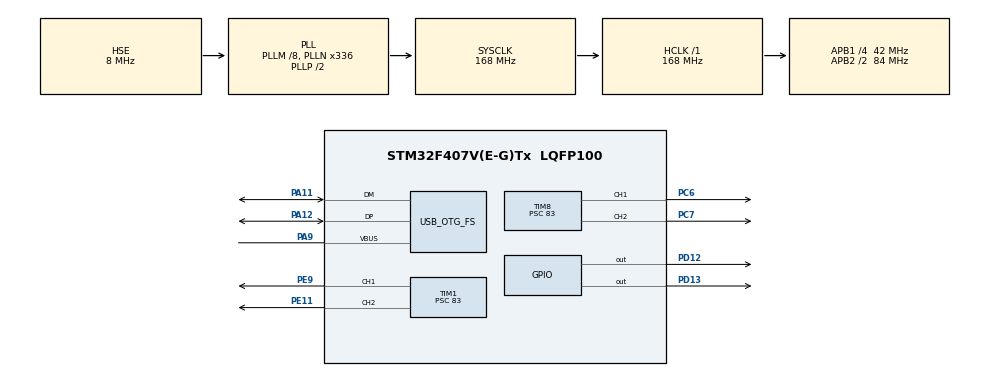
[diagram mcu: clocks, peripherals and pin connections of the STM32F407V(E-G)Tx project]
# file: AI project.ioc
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Mcu.Family=STM32F4
Mcu.Name=STM32F407V(E-G)Tx
Mcu.Package=LQFP100
NVIC.OTG_FS_IRQn=true\:0\:0\:false\:false\:true\:false\:true\:true
NVIC.PriorityGroup=NVIC_PRIORITYGROUP_0
PA11.Mode=Device_Only
PA11.Signal=USB_OTG_FS_DM
PA12.Mode=Device_Only
PA12.Signal=USB_OTG_FS_DP
PA9.Mode=Activate_VBUS
PA9.Signal=USB_OTG_FS_VBUS
PC6.Signal=S_TIM8_CH1
PC7.Signal=S_TIM8_CH2
PD12.Signal=GPIO_Output
PD13.Signal=GPIO_Output
PE11.Signal=S_TIM1_CH2
PE9.Signal=S_TIM1_CH1
PH0-OSC_IN.Mode=HSE-External-Oscillator
PH0-OSC_IN.Signal=RCC_OSC_IN
PH1-OSC_OUT.Mode=HSE-External-Oscillator
PH1-OSC_OUT.Signal=RCC_OSC_OUT
ProjectManager.HeapSize=0x200
ProjectManager.StackSize=0x400
ProjectManager.TargetToolchain=STM32CubeIDE
RCC.48MHZClocksFreq_Value=48000000
RCC.AHBFreq_Value=168000000
RCC.APB1CLKDivider=RCC_HCLK_DIV4
RCC.APB1Freq_Value=42000000
RCC.APB1TimFreq_Value=84000000
RCC.APB2CLKDivider=RCC_HCLK_DIV2
RCC.APB2Freq_Value=84000000
RCC.APB2TimFreq_Value=168000000
RCC.CortexFreq_Value=168000000
RCC.HCLKFreq_Value=168000000
RCC.HSE_VALUE=8000000
RCC.HSI_VALUE=16000000
RCC.LSE_VALUE=32768
RCC.PLLM=8
RCC.PLLN=336
RCC.PLLQ=7
RCC.SYSCLKFreq_VALUE=168000000
RCC.SYSCLKSource=RCC_SYSCLKSOURCE_PLLCLK
RCC.VCOOutputFreq_Value=336000000
SH.S_TIM1_CH1.0=TIM1_CH1,PWM Generation1 CH1
SH.S_TIM1_CH2.0=TIM1_CH2,PWM Generation2 CH2
SH.S_TIM8_CH1.0=TIM8_CH1,PWM Generation1 CH1
SH.S_TIM8_CH2.0=TIM8_CH2,PWM Generation2 CH2
TIM1.Channel-PWM\ Generation1\ CH1=TIM_CHANNEL_1
TIM1.Channel-PWM\ Generation2\ CH2=TIM_CHANNEL_2
TIM1.Period=999
TIM1.Prescaler=83
TIM8.Channel-PWM\ Generation1\ CH1=TIM_CHANNEL_1
TIM8.Channel-PWM\ Generation2\ CH2=TIM_CHANNEL_2
TIM8.Period=999
TIM8.Prescaler=83
USB_DEVICE.CLASS_NAME_FS=CDC
USB_DEVICE.VirtualMode-CDC_FS=Cdc
USB_DEVICE.VirtualModeFS=Cdc_FS
USB_OTG_FS.VirtualMode=Device_Only
VP_TIM1_VS_ClockSourceINT.Mode=Internal
VP_USB_DEVICE_VS_USB_DEVICE_CDC_FS.Mode=CDC_FS
board=STM32F407G-DISC1

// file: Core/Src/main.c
/* USER CODE BEGIN Header */
/**
  ******************************************************************************
  * @file           : main.c
  * @brief          : Main program body
  ******************************************************************************
  * @attention
  *
  * Copyright (c) 2024 STMicroelectronics.
  * All rights reserved.
  *
  * This software is licensed under terms that can be found in the LICENSE file
  * in the root directory of this software component.
  * If no LICENSE file comes with this software, it is provided AS-IS.
  *
  ******************************************************************************
  */
/* USER CODE END Header */
#include "main.h"
#include "usb_device.h"

/* USER CODE BEGIN Includes */
#include "string.h"
/* USER CODE END Includes */

TIM_HandleTypeDef htim1;
TIM_HandleTypeDef htim8;

/* USER CODE BEGIN PV */
uint8_t USBRxDataReady = 0;
uint8_t* USBRxDataBuffer;
uint8_t USBRxDataLength = 0;
/* USER CODE END PV */

void SystemClock_Config(void);
static void MX_GPIO_Init(void);
static void MX_TIM1_Init(void);
static void MX_TIM8_Init(void);

/* USER CODE BEGIN 0 */
void USBRxHandler(uint8_t* buf,uint16_t len) {
	USBRxDataReady = 1;
	USBRxDataBuffer = buf ;
	USBRxDataLength = len;
	return;
}
/* USER CODE END 0 */

int main(void)
{

  /* MCU Configuration--------------------------------------------------------*/

  /* Reset of all peripherals, Initializes the Flash interface and the Systick. */
  HAL_Init();

  /* Configure the system clock */
  SystemClock_Config();

  /* Initialize all configured peripherals */
  MX_GPIO_Init();
  MX_TIM1_Init();
  MX_USB_DEVICE_Init();
  MX_TIM8_Init();
  HAL_TIM_PWM_Start(&htim1, TIM_CHANNEL_1);
  HAL_TIM_PWM_Start(&htim8, TIM_CHANNEL_2);

  HAL_TIM_PWM_Start(&htim1, TIM_CHANNEL_2);
  HAL_TIM_PWM_Start(&htim8, TIM_CHANNEL_1);

  /* Infinite loop */
  /* USER CODE BEGIN WHILE */
  while (1)
  {
	  if (USBRxDataReady == 1)
	  {
		  if (strncmp(USBRxDataBuffer,"avant",USBRxDataLength) == 0)
		  {
			  	  	CDC_Transmit_FS("\ndone!\r\n", 8);
			  	  	HAL_GPIO_WritePin(GPIOD, GPIO_PIN_13, 1);
			  	    HAL_GPIO_WritePin(GPIOD, GPIO_PIN_12, 0);
			  	    __HAL_TIM_SET_COMPARE(&htim1, TIM_CHANNEL_1, 800);
			  	    __HAL_TIM_SET_COMPARE(&htim1, TIM_CHANNEL_2, 0);
			  	    __HAL_TIM_SET_COMPARE(&htim8, TIM_CHANNEL_1, 900);
			  	    __HAL_TIM_SET_COMPARE(&htim8, TIM_CHANNEL_2, 0);
		  }
		  else if (strncmp(USBRxDataBuffer,"stop",USBRxDataLength) == 0)
		  {
		  			CDC_Transmit_FS("\ndone!\r\n", 8);
		  			HAL_GPIO_WritePin(GPIOD, GPIO_PIN_13, 0);
		  			HAL_GPIO_WritePin(GPIOD, GPIO_PIN_12, 1);
		  			__HAL_TIM_SET_COMPARE(&htim1, TIM_CHANNEL_1, 0);
		  			__HAL_TIM_SET_COMPARE(&htim1, TIM_CHANNEL_2, 0);
		  			__HAL_TIM_SET_COMPARE(&htim8, TIM_CHANNEL_1, 0);
		  			__HAL_TIM_SET_COMPARE(&htim8, TIM_CHANNEL_2, 0);
		  }
		  else
		  {

		  }

//		HAL_Delay(1000);
	  	USBRxDataReady = 0;
	  }
    /* USER CODE END WHILE */

  }
}

void SystemClock_Config(void)
{
  RCC_OscInitTypeDef RCC_OscInitStruct = {0};
  RCC_ClkInitTypeDef RCC_ClkInitStruct = {0};

  /** Configure the main internal regulator output voltage
  */
  __HAL_RCC_PWR_CLK_ENABLE();
  __HAL_PWR_VOLTAGESCALING_CONFIG(PWR_REGULATOR_VOLTAGE_SCALE1);

  /** Initializes the RCC Oscillators according to the specified parameters
  * in the RCC_OscInitTypeDef structure.
  */
  RCC_OscInitStruct.OscillatorType = RCC_OSCILLATORTYPE_HSE;
  RCC_OscInitStruct.HSEState = RCC_HSE_ON;
  RCC_OscInitStruct.PLL.PLLState = RCC_PLL_ON;
  RCC_OscInitStruct.PLL.PLLSource = RCC_PLLSOURCE_HSE;
  RCC_OscInitStruct.PLL.PLLM = 8;
  RCC_OscInitStruct.PLL.PLLN = 336;
  RCC_OscInitStruct.PLL.PLLP = RCC_PLLP_DIV2;
  RCC_OscInitStruct.PLL.PLLQ = 7;
  if (HAL_RCC_OscConfig(&RCC_OscInitStruct) != HAL_OK)
  {
    Error_Handler();
  }

  /** Initializes the CPU, AHB and APB buses clocks
  */
  RCC_ClkInitStruct.ClockType = RCC_CLOCKTYPE_HCLK|RCC_CLOCKTYPE_SYSCLK
                              |RCC_CLOCKTYPE_PCLK1|RCC_CLOCKTYPE_PCLK2;
  RCC_ClkInitStruct.SYSCLKSource = RCC_SYSCLKSOURCE_PLLCLK;
  RCC_ClkInitStruct.AHBCLKDivider = RCC_SYSCLK_DIV1;
  RCC_ClkInitStruct.APB1CLKDivider = RCC_HCLK_DIV4;
  RCC_ClkInitStruct.APB2CLKDivider = RCC_HCLK_DIV2;

  if (HAL_RCC_ClockConfig(&RCC_ClkInitStruct, FLASH_LATENCY_5) != HAL_OK)
  {
    Error_Handler();
  }
}

static void MX_TIM1_Init(void)
{

  TIM_ClockConfigTypeDef sClockSourceConfig = {0};
  TIM_MasterConfigTypeDef sMasterConfig = {0};
  TIM_OC_InitTypeDef sConfigOC = {0};
  TIM_BreakDeadTimeConfigTypeDef sBreakDeadTimeConfig = {0};

  htim1.Instance = TIM1;
  htim1.Init.Prescaler = 83;
  htim1.Init.CounterMode = TIM_COUNTERMODE_UP;
  htim1.Init.Period = 999;
  htim1.Init.ClockDivision = TIM_CLOCKDIVISION_DIV1;
  htim1.Init.RepetitionCounter = 0;
  htim1.Init.AutoReloadPreload = TIM_AUTORELOAD_PRELOAD_DISABLE;
  if (HAL_TIM_Base_Init(&htim1) != HAL_OK)
  {
    Error_Handler();
  }
  sClockSourceConfig.ClockSource = TIM_CLOCKSOURCE_INTERNAL;
  if (HAL_TIM_ConfigClockSource(&htim1, &sClockSourceConfig) != HAL_OK)
  {
    Error_Handler();
  }
  if (HAL_TIM_PWM_Init(&htim1) != HAL_OK)
  {
    Error_Handler();
  }
  sMasterConfig.MasterOutputTrigger = TIM_TRGO_RESET;
  sMasterConfig.MasterSlaveMode = TIM_MASTERSLAVEMODE_DISABLE;
  if (HAL_TIMEx_MasterConfigSynchronization(&htim1, &sMasterConfig) != HAL_OK)
  {
    Error_Handler();
  }
  sConfigOC.OCMode = TIM_OCMODE_PWM1;
  sConfigOC.Pulse = 0;
  sConfigOC.OCPolarity = TIM_OCPOLARITY_HIGH;
  sConfigOC.OCNPolarity = TIM_OCNPOLARITY_HIGH;
  sConfigOC.OCFastMode = TIM_OCFAST_DISABLE;
  sConfigOC.OCIdleState = TIM_OCIDLESTATE_RESET;
  sConfigOC.OCNIdleState = TIM_OCNIDLESTATE_RESET;
  if (HAL_TIM_PWM_ConfigChannel(&htim1, &sConfigOC, TIM_CHANNEL_1) != HAL_OK)
  {
    Error_Handler();
  }
  if (HAL_TIM_PWM_ConfigChannel(&htim1, &sConfigOC, TIM_CHANNEL_2) != HAL_OK)
  {
    Error_Handler();
  }
  sBreakDeadTimeConfig.OffStateRunMode = TIM_OSSR_DISABLE;
  sBreakDeadTimeConfig.OffStateIDLEMode = TIM_OSSI_DISABLE;
  sBreakDeadTimeConfig.LockLevel = TIM_LOCKLEVEL_OFF;
  sBreakDeadTimeConfig.DeadTime = 0;
  sBreakDeadTimeConfig.BreakState = TIM_BREAK_DISABLE;
  sBreakDeadTimeConfig.BreakPolarity = TIM_BREAKPOLARITY_HIGH;
  sBreakDeadTimeConfig.AutomaticOutput = TIM_AUTOMATICOUTPUT_DISABLE;
  if (HAL_TIMEx_ConfigBreakDeadTime(&htim1, &sBreakDeadTimeConfig) != HAL_OK)
  {
    Error_Handler();
  }
  HAL_TIM_MspPostInit(&htim1);

}

static void MX_TIM8_Init(void)
{

  TIM_MasterConfigTypeDef sMasterConfig = {0};
  TIM_OC_InitTypeDef sConfigOC = {0};
  TIM_BreakDeadTimeConfigTypeDef sBreakDeadTimeConfig = {0};

  htim8.Instance = TIM8;
  htim8.Init.Prescaler = 83;
  htim8.Init.CounterMode = TIM_COUNTERMODE_UP;
  htim8.Init.Period = 999;
  htim8.Init.ClockDivision = TIM_CLOCKDIVISION_DIV1;
  htim8.Init.RepetitionCounter = 0;
  htim8.Init.AutoReloadPreload = TIM_AUTORELOAD_PRELOAD_DISABLE;
  if (HAL_TIM_PWM_Init(&htim8) != HAL_OK)
  {
    Error_Handler();
  }
  sMasterConfig.MasterOutputTrigger = TIM_TRGO_RESET;
  sMasterConfig.MasterSlaveMode = TIM_MASTERSLAVEMODE_DISABLE;
  if (HAL_TIMEx_MasterConfigSynchronization(&htim8, &sMasterConfig) != HAL_OK)
  {
    Error_Handler();
  }
  sConfigOC.OCMode = TIM_OCMODE_PWM1;
  sConfigOC.Pulse = 0;
  sConfigOC.OCPolarity = TIM_OCPOLARITY_HIGH;
  sConfigOC.OCNPolarity = TIM_OCNPOLARITY_HIGH;
  sConfigOC.OCFastMode = TIM_OCFAST_DISABLE;
  sConfigOC.OCIdleState = TIM_OCIDLESTATE_RESET;
  sConfigOC.OCNIdleState = TIM_OCNIDLESTATE_RESET;
  if (HAL_TIM_PWM_ConfigChannel(&htim8, &sConfigOC, TIM_CHANNEL_1) != HAL_OK)
  {
    Error_Handler();
  }
  if (HAL_TIM_PWM_ConfigChannel(&htim8, &sConfigOC, TIM_CHANNEL_2) != HAL_OK)
  {
    Error_Handler();
  }
  sBreakDeadTimeConfig.OffStateRunMode = TIM_OSSR_DISABLE;
  sBreakDeadTimeConfig.OffStateIDLEMode = TIM_OSSI_DISABLE;
  sBreakDeadTimeConfig.LockLevel = TIM_LOCKLEVEL_OFF;
  sBreakDeadTimeConfig.DeadTime = 0;
  sBreakDeadTimeConfig.BreakState = TIM_BREAK_DISABLE;
  sBreakDeadTimeConfig.BreakPolarity = TIM_BREAKPOLARITY_HIGH;
  sBreakDeadTimeConfig.AutomaticOutput = TIM_AUTOMATICOUTPUT_DISABLE;
  if (HAL_TIMEx_ConfigBreakDeadTime(&htim8, &sBreakDeadTimeConfig) != HAL_OK)
  {
    Error_Handler();
  }
  HAL_TIM_MspPostInit(&htim8);

}

static void MX_GPIO_Init(void)
{
  GPIO_InitTypeDef GPIO_InitStruct = {0};

  /* GPIO Ports Clock Enable */
  __HAL_RCC_GPIOH_CLK_ENABLE();
  __HAL_RCC_GPIOE_CLK_ENABLE();
  __HAL_RCC_GPIOD_CLK_ENABLE();
  __HAL_RCC_GPIOC_CLK_ENABLE();
  __HAL_RCC_GPIOA_CLK_ENABLE();

  /*Configure GPIO pin Output Level */
  HAL_GPIO_WritePin(GPIOD, GPIO_PIN_12|GPIO_PIN_13, GPIO_PIN_RESET);

  /*Configure GPIO pins : PD12 PD13 */
  GPIO_InitStruct.Pin = GPIO_PIN_12|GPIO_PIN_13;
  GPIO_InitStruct.Mode = GPIO_MODE_OUTPUT_PP;
  GPIO_InitStruct.Pull = GPIO_NOPULL;
  GPIO_InitStruct.Speed = GPIO_SPEED_FREQ_LOW;
  HAL_GPIO_Init(GPIOD, &GPIO_InitStruct);

}

void Error_Handler(void)
{
  __disable_irq();
  while (1)
  {
  }
}
